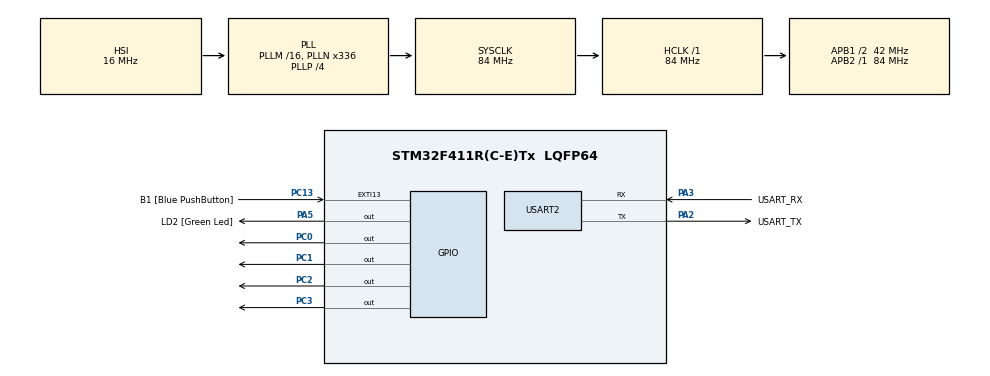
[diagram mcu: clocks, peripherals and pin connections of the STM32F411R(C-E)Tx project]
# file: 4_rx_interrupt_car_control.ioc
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Mcu.Family=STM32F4
Mcu.Name=STM32F411R(C-E)Tx
Mcu.Package=LQFP64
NVIC.PriorityGroup=NVIC_PRIORITYGROUP_0
NVIC.USART2_IRQn=true\:0\:0\:false\:false\:true\:true\:true\:true
PA13.GPIO_Label=TMS
PA13.Mode=Serial_Wire
PA13.Signal=SYS_JTMS-SWDIO
PA14.GPIO_Label=TCK
PA14.Mode=Serial_Wire
PA14.Signal=SYS_JTCK-SWCLK
PA2.GPIO_Label=USART_TX
PA2.Mode=Asynchronous
PA2.Signal=USART2_TX
PA3.GPIO_Label=USART_RX
PA3.Mode=Asynchronous
PA3.Signal=USART2_RX
PA5.GPIO_Label=LD2 [Green Led]
PA5.Signal=GPIO_Output
PB3.GPIO_Label=SWO
PB3.Signal=SYS_JTDO-SWO
PC0.Signal=GPIO_Output
PC1.Signal=GPIO_Output
PC13-ANTI_TAMP.GPIO_Label=B1 [Blue PushButton]
PC13-ANTI_TAMP.GPIO_ModeDefaultEXTI=GPIO_MODE_IT_FALLING
PC13-ANTI_TAMP.Signal=GPXTI13
PC14-OSC32_IN.Mode=LSE-External-Oscillator
PC14-OSC32_IN.Signal=RCC_OSC32_IN
PC15-OSC32_OUT.Mode=LSE-External-Oscillator
PC15-OSC32_OUT.Signal=RCC_OSC32_OUT
PC2.Signal=GPIO_Output
PC3.Signal=GPIO_Output
PH0\ -\ OSC_IN.Mode=HSE-External-Clock-Source
PH0\ -\ OSC_IN.Signal=RCC_OSC_IN
PH1\ -\ OSC_OUT.Mode=HSE-External-Clock-Source
PH1\ -\ OSC_OUT.Signal=RCC_OSC_OUT
ProjectManager.HeapSize=0x200
ProjectManager.StackSize=0x400
ProjectManager.TargetToolchain=STM32CubeIDE
RCC.48MHZClocksFreq_Value=84000000
RCC.AHBFreq_Value=84000000
RCC.APB1CLKDivider=RCC_HCLK_DIV2
RCC.APB1Freq_Value=42000000
RCC.APB1TimFreq_Value=84000000
RCC.APB2Freq_Value=84000000
RCC.APB2TimFreq_Value=84000000
RCC.CortexFreq_Value=84000000
RCC.FLatency-AdvancedSettings=FLASH_LATENCY_2
RCC.HCLKFreq_Value=84000000
RCC.HSE_VALUE=8000000
RCC.HSI_VALUE=16000000
RCC.PLLN=336
RCC.PLLP=RCC_PLLP_DIV4
RCC.SYSCLKFreq_VALUE=84000000
RCC.SYSCLKSource=RCC_SYSCLKSOURCE_PLLCLK
RCC.VCOOutputFreq_Value=336000000
USART2.VirtualMode=VM_ASYNC
board=NUCLEO-F411RE

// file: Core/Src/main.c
/* USER CODE BEGIN Header */
/**
  ******************************************************************************
  * @file           : main.c
  * @brief          : Main program body - USB Safe Version
  ******************************************************************************
  */
/* USER CODE END Header */
#include "main.h"

/* USER CODE BEGIN Includes */
#include <stdio.h>
#include <string.h>
/* USER CODE END Includes */

UART_HandleTypeDef huart2;

/* USER CODE BEGIN PV */
uint8_t rx_buffer[10];
uint8_t rx_data;
uint8_t rx_index = 0;
uint8_t command_ready = 0;
uint8_t command[3];
/* USER CODE END PV */

void SystemClock_Config(void);
static void MX_GPIO_Init(void);
static void MX_USART2_UART_Init(void);
/* USER CODE BEGIN PFP */
void Process_Command(void);
void Motor_Control(uint8_t cmd);
/* USER CODE END PFP */

/* USER CODE BEGIN 0 */

// 안전한 UART 콜백 - 1바이트씩 처리
void HAL_UART_RxCpltCallback(UART_HandleTypeDef *huart)
{
    if(huart->Instance == USART2)
    {
        // 버퍼에 저장
        rx_buffer[rx_index] = rx_data;
        rx_index++;

        // 3바이트 받았으면 명령 처리 준비
        if(rx_index >= 3)
        {
            // 명령 복사
            command[0] = rx_buffer[0];
            command[1] = rx_buffer[1];
            command[2] = rx_buffer[2];
            command_ready = 1;
            rx_index = 0;
        }

        // 다음 바이트 수신 준비 - 중요: 반드시 재시작
        HAL_UART_Receive_IT(&huart2, &rx_data, 1);
    }
}

void Motor_Control(uint8_t cmd)
{
    // 모든 핀 먼저 리셋 (안전)
    HAL_GPIO_WritePin(GPIOC, GPIO_PIN_0|GPIO_PIN_1|GPIO_PIN_2|GPIO_PIN_3, GPIO_PIN_RESET);

    switch(cmd)
    {
    case '1': // Forward
        HAL_GPIO_WritePin(GPIOC, GPIO_PIN_0|GPIO_PIN_2, GPIO_PIN_SET);
        break;
    case '2': // Reverse
        HAL_GPIO_WritePin(GPIOC, GPIO_PIN_1|GPIO_PIN_3, GPIO_PIN_SET);
        break;
    case '3': // Right
        HAL_GPIO_WritePin(GPIOC, GPIO_PIN_1|GPIO_PIN_2, GPIO_PIN_SET);
        break;
    case '4': // Left
        HAL_GPIO_WritePin(GPIOC, GPIO_PIN_0|GPIO_PIN_3, GPIO_PIN_SET);
        break;
    default: // Stop
        // 이미 모두 리셋됨
        break;
    }
}

void Process_Command(void)
{
    if(command_ready)
    {
        // 플래그 먼저 리셋 (재진입 방지)
        command_ready = 0;

        // 형식 확인: a#f
        if(command[0] == 'a' && command[2] == 'f')
        {
            // 모터 제어
            Motor_Control(command[1]);

            // 피드백 전송 (블로킹 모드로 안전하게)
            uint8_t msg[20];
            uint16_t len = sprintf((char*)msg, "OK:%c\r\n", command[1]);
            HAL_UART_Transmit(&huart2, msg, len, 10);
        }
        else
        {
            // 에러 메시지
            uint8_t err[] = "ERR\r\n";
            HAL_UART_Transmit(&huart2, err, 5, 10);
        }
    }
}

/* USER CODE END 0 */

int main(void)
{

  /* MCU Configuration--------------------------------------------------------*/

  /* Reset of all peripherals, Initializes the Flash interface and the Systick. */
  HAL_Init();

  /* Configure the system clock */
  SystemClock_Config();

  /* Initialize all configured peripherals */
  MX_GPIO_Init();
  MX_USART2_UART_Init();

  /* USER CODE BEGIN 2 */

  // 초기화 메시지 (블로킹 모드)
  uint8_t init_msg[] = "Motor Ready\r\n";
  HAL_UART_Transmit(&huart2, init_msg, strlen((char*)init_msg), 100);

  // 모터 정지 상태로 시작
  HAL_GPIO_WritePin(GPIOC, GPIO_PIN_0|GPIO_PIN_1|GPIO_PIN_2|GPIO_PIN_3, GPIO_PIN_RESET);

  // UART 인터럽트 수신 시작 (1바이트씩)
  HAL_UART_Receive_IT(&huart2, &rx_data, 1);

  /* USER CODE END 2 */

  /* Infinite loop */
  /* USER CODE BEGIN WHILE */
  uint32_t last_tick = 0;

  while (1)
  {
      // 명령 처리 (인터럽트 밖에서)
      Process_Command();

      // 1초마다 하트비트 (USB 연결 유지)
      if(HAL_GetTick() - last_tick > 1000)
      {
          last_tick = HAL_GetTick();
          // LED 토글 (선택사항)
          HAL_GPIO_TogglePin(GPIOA, GPIO_PIN_5);
      }

      // CPU 부하 감소
      __WFI(); // Wait For Interrupt

    /* USER CODE END WHILE */

  }
}

void SystemClock_Config(void)
{
  RCC_OscInitTypeDef RCC_OscInitStruct = {0};
  RCC_ClkInitTypeDef RCC_ClkInitStruct = {0};

  /** Configure the main internal regulator output voltage
  */
  __HAL_RCC_PWR_CLK_ENABLE();
  __HAL_PWR_VOLTAGESCALING_CONFIG(PWR_REGULATOR_VOLTAGE_SCALE1);

  /** Initializes the RCC Oscillators according to the specified parameters
  * in the RCC_OscInitTypeDef structure.
  */
  RCC_OscInitStruct.OscillatorType = RCC_OSCILLATORTYPE_HSI;
  RCC_OscInitStruct.HSIState = RCC_HSI_ON;
  RCC_OscInitStruct.HSICalibrationValue = RCC_HSICALIBRATION_DEFAULT;
  RCC_OscInitStruct.PLL.PLLState = RCC_PLL_ON;
  RCC_OscInitStruct.PLL.PLLSource = RCC_PLLSOURCE_HSI;
  RCC_OscInitStruct.PLL.PLLM = 16;
  RCC_OscInitStruct.PLL.PLLN = 336;
  RCC_OscInitStruct.PLL.PLLP = RCC_PLLP_DIV4;
  RCC_OscInitStruct.PLL.PLLQ = 4;
  if (HAL_RCC_OscConfig(&RCC_OscInitStruct) != HAL_OK)
  {
    Error_Handler();
  }

  /** Initializes the CPU, AHB and APB buses clocks
  */
  RCC_ClkInitStruct.ClockType = RCC_CLOCKTYPE_HCLK|RCC_CLOCKTYPE_SYSCLK
                              |RCC_CLOCKTYPE_PCLK1|RCC_CLOCKTYPE_PCLK2;
  RCC_ClkInitStruct.SYSCLKSource = RCC_SYSCLKSOURCE_PLLCLK;
  RCC_ClkInitStruct.AHBCLKDivider = RCC_SYSCLK_DIV1;
  RCC_ClkInitStruct.APB1CLKDivider = RCC_HCLK_DIV2;
  RCC_ClkInitStruct.APB2CLKDivider = RCC_HCLK_DIV1;

  if (HAL_RCC_ClockConfig(&RCC_ClkInitStruct, FLASH_LATENCY_2) != HAL_OK)
  {
    Error_Handler();
  }
}

static void MX_USART2_UART_Init(void)
{

  huart2.Instance = USART2;
  huart2.Init.BaudRate = 115200;
  huart2.Init.WordLength = UART_WORDLENGTH_8B;
  huart2.Init.StopBits = UART_STOPBITS_1;
  huart2.Init.Parity = UART_PARITY_NONE;
  huart2.Init.Mode = UART_MODE_TX_RX;
  huart2.Init.HwFlowCtl = UART_HWCONTROL_NONE;
  huart2.Init.OverSampling = UART_OVERSAMPLING_16;
  if (HAL_UART_Init(&huart2) != HAL_OK)
  {
    Error_Handler();
  }

}

static void MX_GPIO_Init(void)
{
  GPIO_InitTypeDef GPIO_InitStruct = {0};

  /* GPIO Ports Clock Enable */
  __HAL_RCC_GPIOC_CLK_ENABLE();
  __HAL_RCC_GPIOH_CLK_ENABLE();
  __HAL_RCC_GPIOA_CLK_ENABLE();
  __HAL_RCC_GPIOB_CLK_ENABLE();

  /*Configure GPIO pin Output Level */
  HAL_GPIO_WritePin(GPIOC, GPIO_PIN_0|GPIO_PIN_1|GPIO_PIN_2|GPIO_PIN_3, GPIO_PIN_RESET);

  /*Configure GPIO pin Output Level */
  HAL_GPIO_WritePin(GPIOA, GPIO_PIN_5, GPIO_PIN_RESET);

  /*Configure GPIO pins : PC0 PC1 PC2 PC3 */
  GPIO_InitStruct.Pin = GPIO_PIN_0|GPIO_PIN_1|GPIO_PIN_2|GPIO_PIN_3;
  GPIO_InitStruct.Mode = GPIO_MODE_OUTPUT_PP;
  GPIO_InitStruct.Pull = GPIO_PULLDOWN;  // Pull-down 추가
  GPIO_InitStruct.Speed = GPIO_SPEED_FREQ_LOW;
  HAL_GPIO_Init(GPIOC, &GPIO_InitStruct);

  /*Configure GPIO pin : PA5 */
  GPIO_InitStruct.Pin = GPIO_PIN_5;
  GPIO_InitStruct.Mode = GPIO_MODE_OUTPUT_PP;
  GPIO_InitStruct.Pull = GPIO_NOPULL;
  GPIO_InitStruct.Speed = GPIO_SPEED_FREQ_LOW;
  HAL_GPIO_Init(GPIOA, &GPIO_InitStruct);

  /*Configure GPIO pin : PC13 (User Button) */
  GPIO_InitStruct.Pin = GPIO_PIN_13;
  GPIO_InitStruct.Mode = GPIO_MODE_INPUT;
  GPIO_InitStruct.Pull = GPIO_NOPULL;
  HAL_GPIO_Init(GPIOC, &GPIO_InitStruct);

}

void Error_Handler(void)
{
  __disable_irq();
  while (1)
  {
  }
}
